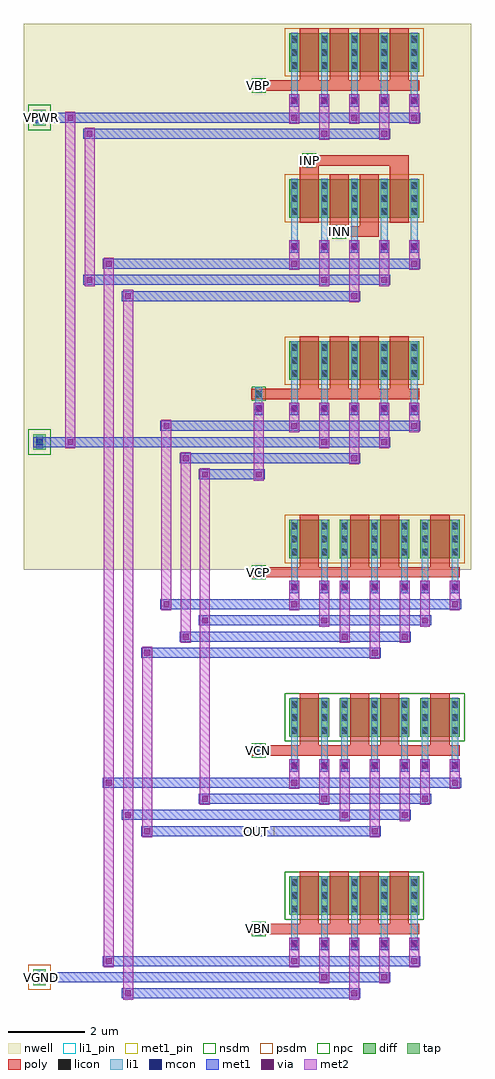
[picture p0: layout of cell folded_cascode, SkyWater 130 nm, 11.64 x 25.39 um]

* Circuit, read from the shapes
.subckt folded_cascode INN INP OUT VBN VBP VCN VCP VGND VPWR
XM1 VGND VBN n1 VGND sky130_fd_pr__nfet_01v8 w=1 l=0.5 m=2
XM2 n2 VCN n1 VGND sky130_fd_pr__nfet_01v8 w=1 l=0.5 m=2
XM3 n3 VBN VGND VGND sky130_fd_pr__nfet_01v8 w=1 l=0.5 m=2
XM4 OUT VCN n3 VGND sky130_fd_pr__nfet_01v8 w=1 l=0.5 m=2
XM5 n2 VCP n4 VPWR sky130_fd_pr__pfet_01v8 w=1 l=0.5 m=2
XM6 VPWR n2 n4 VPWR sky130_fd_pr__pfet_01v8 w=1 l=0.5 m=2
XM7 n5 INP n1 VPWR sky130_fd_pr__pfet_01v8 w=1 l=0.5 m=2
XM8 n5 VBP VPWR VPWR sky130_fd_pr__pfet_01v8 w=1 l=0.5 m=4
XM9 n6 n2 VPWR VPWR sky130_fd_pr__pfet_01v8 w=1 l=0.5 m=2
XM10 n3 INN n5 VPWR sky130_fd_pr__pfet_01v8 w=1 l=0.5 m=2
XM11 OUT VCP n6 VPWR sky130_fd_pr__pfet_01v8 w=1 l=0.5 m=2
.ends

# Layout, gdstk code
import gdstk
lib = gdstk.Library(unit=1e-6, precision=1e-09)
def R(c, l, rs):  # rectangles x0, y0, x1, y1
    for r in rs: c.add(gdstk.rectangle(r[:2], r[2:], *l))
def A(c, l, x, y, w, h, nx, ny, dx, dy):  # array of equal rectangles
    R(c, l, [(x+i*dx, y+j*dy, x+i*dx+w, y+j*dy+h) for i in range(nx) for j in range(ny)])
nwell = (64, 20)
diff = (65, 20)
tap = (65, 44)
poly = (66, 20)
licon = (66, 44)
li1_pin = (67, 16)
li1 = (67, 20)
mcon = (67, 44)
met1_pin = (68, 16)
met1 = (68, 20)
via = (68, 44)
met2 = (69, 20)
nsdm = (93, 44)
psdm = (94, 20)
npc = (95, 20)

folded_cascode = lib.new_cell('folded_cascode')
R(folded_cascode, nwell, [(0.085,27.04,11.73,41.25)])
R(folded_cascode, diff, [(7,18.06,10.37,19.06), (7,22.7,8.03,23.7), (8.31,22.7,10.12,23.7), (10.4,22.7,11.43,23.7), (7,27.34,8.03,28.34), (8.31,27.34,10.12,28.34), (10.4,27.34,11.43,28.34), (7,31.98,10.37,32.98), (7,36.2,10.37,37.2), (7,40,10.37,41)])
R(folded_cascode, tap, [(0.335,16.235,0.665,16.645), (0.335,30.155,0.665,30.565), (0.335,38.595,0.665,39.005)])
A(folded_cascode, poly, 7.265, 17.56, 0.5, 1.63, 4, 2, 0.78, 13.92)
A(folded_cascode, poly, 7.265, 39.5, 0.5, 1.63, 4, 1, 0.78, 0)
R(folded_cascode, poly, [(6,17.56,10.37,17.83), (6,22.2,11.43,22.47), (7.265,22.2,7.765,23.83), (8.575,22.2,9.075,23.83), (9.355,22.2,9.855,23.83), (10.665,22.2,11.165,23.83), (6,26.84,11.43,27.11), (7.265,26.84,7.765,28.47), (8.575,26.84,9.075,28.47), (9.355,26.84,9.855,28.47), (10.665,26.84,11.165,28.47), (6,31.48,10.37,31.75), (8.045,35.7,8.545,37.33), (8.045,35.7,9.325,35.97), (8.825,35.7,9.325,37.33), (7.265,36.07,7.765,37.82), (9.605,36.07,10.105,37.82), (7.265,37.55,10.105,37.82), (6,39.5,10.37,39.77)])
A(folded_cascode, licon, 6.115, 17.61, 0.17, 0.17, 1, 4, 0, 4.64)
A(folded_cascode, licon, 7.04, 18.135, 0.17, 0.17, 5, 3, 0.78, 0.34)
A(folded_cascode, licon, 7.04, 22.775, 0.17, 0.17, 1, 3, 0, 0.34)
A(folded_cascode, licon, 7.82, 22.775, 0.17, 0.17, 1, 3, 0, 0.34)
A(folded_cascode, licon, 8.35, 22.775, 0.17, 0.17, 3, 3, 0.78, 0.34)
A(folded_cascode, licon, 10.44, 22.775, 0.17, 0.17, 1, 3, 0, 0.34)
A(folded_cascode, licon, 11.22, 22.775, 0.17, 0.17, 1, 3, 0, 0.34)
A(folded_cascode, licon, 7.04, 27.415, 0.17, 0.17, 1, 3, 0, 0.34)
A(folded_cascode, licon, 7.82, 27.415, 0.17, 0.17, 1, 3, 0, 0.34)
A(folded_cascode, licon, 8.35, 27.415, 0.17, 0.17, 3, 3, 0.78, 0.34)
A(folded_cascode, licon, 10.44, 27.415, 0.17, 0.17, 1, 3, 0, 0.34)
A(folded_cascode, licon, 11.22, 27.415, 0.17, 0.17, 1, 3, 0, 0.34)
A(folded_cascode, licon, 7.04, 32.055, 0.17, 0.17, 5, 3, 0.78, 0.34)
A(folded_cascode, licon, 7.04, 36.275, 0.17, 0.17, 5, 3, 0.78, 0.34)
A(folded_cascode, licon, 7.04, 40.075, 0.17, 0.17, 5, 3, 0.78, 0.34)
R(folded_cascode, licon, [(0.415,16.355,0.585,16.525), (0.415,30.275,0.585,30.445), (8.21,35.75,8.38,35.92), (7.43,37.6,7.6,37.77), (0.415,38.715,0.585,38.885), (6.115,39.55,6.285,39.72)])
A(folded_cascode, li1_pin, 6.115, 17.525, 0.17, 0.34, 1, 3, 0, 4.64)
R(folded_cascode, li1_pin, [(8.21,35.665,8.38,36.005), (7.43,37.515,7.6,37.855), (6.115,39.465,6.285,39.805)])
A(folded_cascode, li1, 7.04, 17.145, 0.17, 1.92, 5, 2, 0.78, 13.92)
A(folded_cascode, li1, 6.115, 17.525, 0.17, 0.34, 1, 3, 0, 4.64)
A(folded_cascode, li1, 8.35, 21.785, 0.17, 1.92, 3, 2, 0.78, 4.64)
A(folded_cascode, li1, 7.04, 35.285, 0.17, 1.92, 5, 2, 0.78, 3.8)
R(folded_cascode, li1, [(0.415,16.27,0.585,16.61), (7.04,21.785,7.21,23.705), (7.82,21.785,7.99,23.705), (10.44,21.785,10.61,23.705), (11.22,21.785,11.39,23.705), (7.04,26.425,7.21,28.345), (7.82,26.425,7.99,28.345), (10.44,26.425,10.61,28.345), (11.22,26.425,11.39,28.345), (0.415,30.19,0.585,30.53), (6.115,31.065,6.285,31.785), (8.21,35.665,8.38,36.005), (7.43,37.515,7.6,37.855), (0.415,38.63,0.585,38.97), (6.115,39.465,6.285,39.805)])
A(folded_cascode, mcon, 7.04, 17.225, 0.17, 0.17, 5, 2, 0.78, 13.92)
A(folded_cascode, mcon, 8.35, 21.865, 0.17, 0.17, 3, 2, 0.78, 4.64)
A(folded_cascode, mcon, 7.04, 35.365, 0.17, 0.17, 5, 2, 0.78, 3.8)
R(folded_cascode, mcon, [(0.415,16.355,0.585,16.525), (7.04,21.865,7.21,22.035), (7.82,21.865,7.99,22.035), (10.44,21.865,10.61,22.035), (11.22,21.865,11.39,22.035), (7.04,26.505,7.21,26.675), (7.82,26.505,7.99,26.675), (10.44,26.505,10.61,26.675), (11.22,26.505,11.39,26.675), (0.415,30.275,0.585,30.445), (6.115,31.145,6.285,31.315), (0.415,38.715,0.585,38.885)])
R(folded_cascode, met1_pin, [(0.4,16.31,0.9,16.57), (6,20.11,6.6,20.37), (0.4,38.67,0.9,38.93)])
A(folded_cascode, met1, 6.995, 17.15, 0.26, 0.32, 5, 2, 0.78, 13.92)
A(folded_cascode, met1, 8.305, 21.79, 0.26, 0.32, 3, 2, 0.78, 4.64)
A(folded_cascode, met1, 6.995, 35.29, 0.26, 0.32, 5, 2, 0.78, 3.8)
R(folded_cascode, met1, [(2.64,15.89,8.845,16.15), (0.34,16.31,9.625,16.57), (2.14,16.73,10.405,16.99), (3.14,20.11,9.375,20.37), (6,20.11,6.7,20.37), (2.64,20.53,10.155,20.79), (4.64,20.95,10.685,21.21), (2.14,21.37,11.465,21.63), (6.995,21.79,7.255,22.11), (7.775,21.79,8.035,22.11), (10.395,21.79,10.655,22.11), (11.175,21.79,11.435,22.11), (3.14,24.75,9.375,25.01), (4.14,25.17,10.155,25.43), (4.64,25.59,10.685,25.85), (3.64,26.01,11.465,26.27), (6.995,26.43,7.255,26.75), (7.775,26.43,8.035,26.75), (10.395,26.43,10.655,26.75), (11.175,26.43,11.435,26.75), (4.64,29.39,6.36,29.65), (4.14,29.81,8.845,30.07), (0.34,30.23,9.625,30.49), (3.64,30.65,10.405,30.91), (6.07,31.07,6.33,31.39), (2.64,34.03,8.845,34.29), (1.64,34.45,9.625,34.71), (2.14,34.87,10.405,35.13), (1.64,38.25,9.625,38.51), (0.34,38.67,10.405,38.93)])
A(folded_cascode, via, 7.05, 17.235, 0.15, 0.15, 5, 2, 0.78, 13.92)
A(folded_cascode, via, 8.36, 21.875, 0.15, 0.15, 3, 2, 0.78, 4.64)
A(folded_cascode, via, 7.05, 35.375, 0.15, 0.15, 5, 2, 0.78, 3.8)
A(folded_cascode, via, 7.05, 38.725, 0.15, 0.15, 3, 1, 1.56, 0)
R(folded_cascode, via, [(2.725,15.945,2.875,16.095), (8.61,15.945,8.76,16.095), (7.83,16.365,7.98,16.515), (9.39,16.365,9.54,16.515), (2.225,16.785,2.375,16.935), (7.05,16.785,7.2,16.935), (10.17,16.785,10.32,16.935), (3.225,20.165,3.375,20.315), (9.14,20.165,9.29,20.315), (2.725,20.585,2.875,20.735), (8.36,20.585,8.51,20.735), (9.92,20.585,10.07,20.735), (4.725,21.005,4.875,21.155), (7.83,21.005,7.98,21.155), (10.45,21.005,10.6,21.155), (2.225,21.425,2.375,21.575), (7.05,21.425,7.2,21.575), (11.23,21.425,11.38,21.575), (7.05,21.875,7.2,22.025), (7.83,21.875,7.98,22.025), (10.45,21.875,10.6,22.025), (11.23,21.875,11.38,22.025), (3.225,24.805,3.375,24.955), (9.14,24.805,9.29,24.955), (4.225,25.225,4.375,25.375), (8.36,25.225,8.51,25.375), (9.92,25.225,10.07,25.375), (4.725,25.645,4.875,25.795), (7.83,25.645,7.98,25.795), (10.45,25.645,10.6,25.795), (3.725,26.065,3.875,26.215), (7.05,26.065,7.2,26.215), (11.23,26.065,11.38,26.215), (7.05,26.515,7.2,26.665), (7.83,26.515,7.98,26.665), (10.45,26.515,10.6,26.665), (11.23,26.515,11.38,26.665), (4.725,29.445,4.875,29.595), (6.125,29.445,6.275,29.595), (4.225,29.865,4.375,30.015), (8.61,29.865,8.76,30.015), (1.225,30.285,1.375,30.435), (7.83,30.285,7.98,30.435), (9.39,30.285,9.54,30.435), (3.725,30.705,3.875,30.855), (7.05,30.705,7.2,30.855), (10.17,30.705,10.32,30.855), (6.125,31.155,6.275,31.305), (2.725,34.085,2.875,34.235), (8.61,34.085,8.76,34.235), (1.725,34.505,1.875,34.655), (7.83,34.505,7.98,34.655), (9.39,34.505,9.54,34.655), (2.225,34.925,2.375,35.075), (7.05,34.925,7.2,35.075), (10.17,34.925,10.32,35.075), (1.725,38.305,1.875,38.455), (7.83,38.305,7.98,38.455), (9.39,38.305,9.54,38.455), (1.225,38.725,1.375,38.875)])
A(folded_cascode, met2, 7.775, 16.28, 0.26, 1.19, 1, 4, 0, 4.64)
A(folded_cascode, met2, 6.995, 16.7, 0.26, 0.77, 1, 4, 0, 4.64)
A(folded_cascode, met2, 6.995, 38.64, 0.26, 0.77, 3, 1, 1.56, 0)
R(folded_cascode, met2, [(2.67,15.86,2.93,34.32), (8.555,15.86,8.815,17.47), (9.335,16.28,9.595,17.47), (2.17,16.7,2.43,35.16), (10.115,16.7,10.375,17.47), (3.17,20.08,3.43,25.04), (9.085,20.08,9.345,22.11), (8.305,20.5,8.565,22.11), (9.865,20.5,10.125,22.11), (4.67,20.92,4.93,29.68), (10.395,20.92,10.655,22.11), (11.175,21.34,11.435,22.11), (9.085,24.72,9.345,26.75), (4.17,25.14,4.43,30.1), (8.305,25.14,8.565,26.75), (9.865,25.14,10.125,26.75), (10.395,25.56,10.655,26.75), (3.67,25.98,3.93,30.94), (11.175,25.98,11.435,26.75), (6.07,29.36,6.33,31.39), (8.555,29.78,8.815,31.39), (1.17,30.2,1.43,38.96), (9.335,30.2,9.595,31.39), (10.115,30.62,10.375,31.39), (8.555,34,8.815,35.61), (1.67,34.42,1.93,38.54), (7.775,34.42,8.035,35.61), (9.335,34.42,9.595,35.61), (6.995,34.84,7.255,35.61), (10.115,34.84,10.375,35.61), (7.775,38.22,8.035,39.41), (9.335,38.22,9.595,39.41)])
R(folded_cascode, nsdm, [(6.875,17.935,10.495,19.185), (6.875,22.575,11.555,23.825), (0.21,30.03,0.79,30.69), (0.21,38.47,0.79,39.13)])
R(folded_cascode, psdm, [(0.21,16.11,0.79,16.77), (6.875,27.215,11.555,28.465), (6.875,31.855,10.495,33.105), (6.875,36.075,10.495,37.325), (6.875,39.875,10.495,41.125)])
A(folded_cascode, npc, 6.015, 17.51, 0.37, 0.37, 1, 4, 0, 4.64)
R(folded_cascode, npc, [(8.11,35.65,8.48,36.02), (7.33,37.5,7.7,37.87), (6.015,39.45,6.385,39.82)])
folded_cascode.add(gdstk.Label('VBP', (6.2,39.635), layer=67, texttype=5))
folded_cascode.add(gdstk.Label('INN', (8.295,35.835), layer=67, texttype=5))
folded_cascode.add(gdstk.Label('INP', (7.515,37.685), layer=67, texttype=5))
folded_cascode.add(gdstk.Label('VCP', (6.2,26.975), layer=67, texttype=5))
folded_cascode.add(gdstk.Label('VCN', (6.2,22.335), layer=67, texttype=5))
folded_cascode.add(gdstk.Label('VBN', (6.2,17.695), layer=67, texttype=5))
folded_cascode.add(gdstk.Label('VPWR', (0.55,38.8), layer=68, texttype=5))
folded_cascode.add(gdstk.Label('VGND', (0.55,16.44), layer=68, texttype=5))
folded_cascode.add(gdstk.Label('OUT', (6.15,20.24), layer=68, texttype=5))
folded_cascode.add(gdstk.Label('VPWR', (0.55,38.8), layer=68, texttype=16))
folded_cascode.add(gdstk.Label('VGND', (0.55,16.44), layer=68, texttype=16))
folded_cascode.add(gdstk.Label('OUT', (6.15,20.24), layer=68, texttype=16))

lib.write_gds('folded_cascode.gds')
